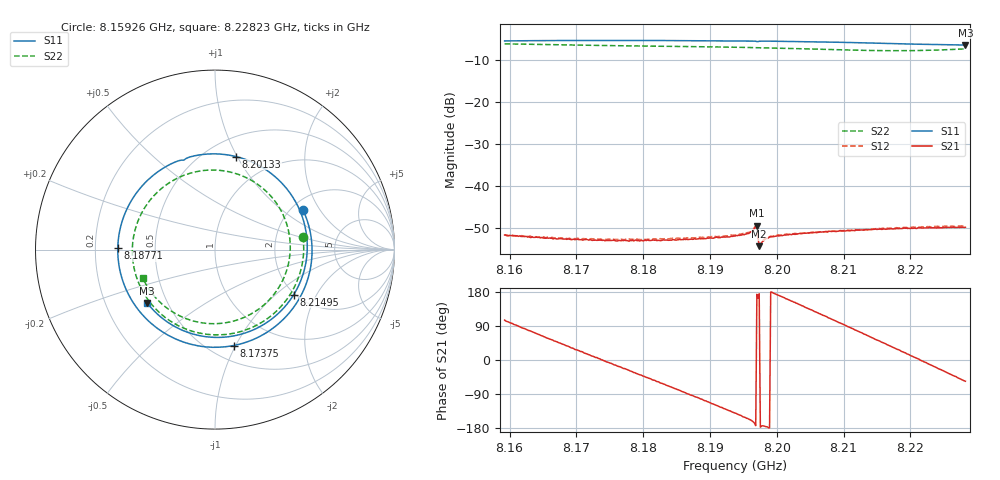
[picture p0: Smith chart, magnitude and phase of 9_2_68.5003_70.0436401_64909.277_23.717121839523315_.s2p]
#  HZ  S  RI  R  50.00
! Rohde & Schwarz Vector Network Analyzer
! Rohde-Schwarz,ZNB20-2Port,1311601062101988,3.16
! Created: UTC 3/20/2024, 5:04:05 PM
! freq[Hz]  re:S11  im:S11  re:S21  im:S21  re:S12  im:S12  re:S22  im:S22
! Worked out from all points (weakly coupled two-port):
!   401 points, 8.15926 GHz to 8.22823 GHz, reference 50 ohm
!   highest |S21| = -49.42 dB at 8.19702 GHz (marker M1); lowest = -54.3 dB at 8.19737 GHz (marker M2)
!   lowest |S11| = -6.4 dB at 8.22823 GHz (marker M3), VSWR 2.85, Z = 19.4 - j15 ohm
!   |S11| at or under -10 dB: nowhere
!   |S22| runs from -7.7 to -6.1 dB; largest |S21 - S12| = 0.00024
!   S11 on the Smith chart (normalised r, x): 8.15926 GHz: 2.30, +1.43; 8.17375 GHz: 0.65, -0.98; 8.18771 GHz: 0.30, +0.01; 8.20133 GHz: 0.68, +0.99; 8.21495 GHz: 1.97, -1.33; 8.22823 GHz: 0.39, -0.30
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8.159264e9  0.4898 0.2218  -0.000691 0.00253  -0.000666 0.00253  0.4911 0.0714
8.164954e9  0.5208 -0.1512  0.00109 0.00217  0.0011 0.00218  0.4155 -0.255
8.170816e9  0.2887 -0.4614  0.00213 0.00087  0.00216 0.000901  0.1462 -0.4559
8.173747e9  0.1042 -0.5343  0.00227 1.73e-05  0.00232 5.51e-05  -0.0205 -0.4742
8.177885e9  -0.1756 -0.515  0.00196 -0.00101  0.00208 -0.00108  -0.242 -0.4025
8.182367e9  -0.4251 -0.3383  0.0012 -0.00193  0.00117 -0.00201  -0.41 -0.2188
8.187712e9  -0.5417 0.00754  -0.000273 -0.00236  -0.000318 -0.00239  -0.4538 0.0708
8.190643e9  -0.4993 0.207  -0.00111 -0.00215  -0.0012 -0.00222  -0.398 0.223
8.193747e9  -0.3766 0.3854  -0.00196 -0.00163  -0.00206 -0.00161  -0.284 0.3518
8.196678e9  -0.2008 0.4955  -0.00305 -0.000712  -0.00317 -0.000609  -0.1379 0.4257
8.197023e9  -0.1763 0.4981  -0.00336 0.000393  -0.00338 0.000553  -0.119 0.4306
8.197367e9  -0.1622 0.507  -0.00192 0.000176  -0.00195 0.000222  -0.1003 0.4349
8.197712e9  -0.138 0.5166  -0.00211 -0.000218  -0.00212 -0.000174  -0.0811 0.4384
8.201333e9  0.1171 0.5183  -0.00249 0.000817  -0.00251 0.000921  0.1224 0.4217
8.205298e9  0.3595 0.3835  -0.00184 0.00208  -0.00178 0.00219  0.3121 0.2969
8.210298e9  0.5114 0.069  -6.11e-05 0.00293  2.32e-05 0.00296  0.4193 0.0249
8.214954e9  0.4387 -0.2511  0.00183 0.00244  0.00195 0.00245  0.3322 -0.2445
8.21685e9  0.3518 -0.3565  0.00244 0.0019  0.00254 0.00187  0.2462 -0.3293
8.219609e9  0.1823 -0.4596  0.00302 0.000827  0.00312 0.000736  0.0836 -0.403
8.222367e9  -0.0139 -0.4886  0.00315 -0.000382  0.00323 -0.000527  -0.099 -0.403
8.225126e9  -0.2059 -0.4381  0.00277 -0.00161  0.0028 -0.00183  -0.2685 -0.325
8.22823e9  -0.3776 -0.2971  0.00181 -0.00269  0.00168 -0.00289  -0.402 -0.1594
